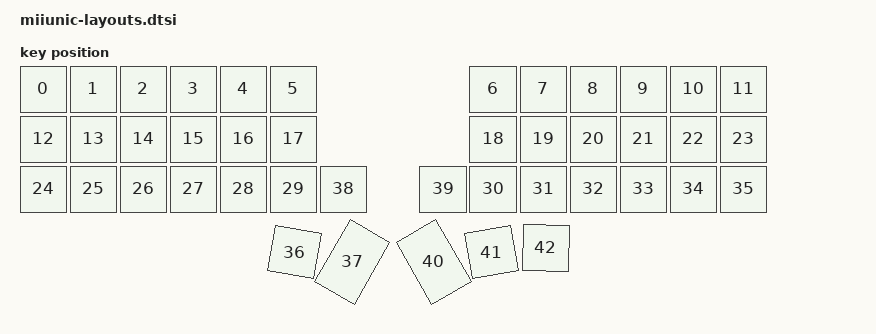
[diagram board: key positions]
#include <physical_layouts.dtsi>

/ {
    physical_layout_miiunic: physical_layout_miiunic {
        compatible = "zmk,physical-layout";
        display-name = "miiUnic";
        keys  //                     w   h    x    y     rot    rx    ry
            = <&key_physical_attrs 100 100  100    0       0     0     0>
            , <&key_physical_attrs 100 100  200    0       0     0     0>
            , <&key_physical_attrs 100 100  300    0       0     0     0>
            , <&key_physical_attrs 100 100  400    0       0     0     0>
            , <&key_physical_attrs 100 100  500    0       0     0     0>
            , <&key_physical_attrs 100 100  600    0       0     0     0>
            , <&key_physical_attrs 100 100 1000    0       0     0     0>
            , <&key_physical_attrs 100 100 1100    0       0     0     0>
            , <&key_physical_attrs 100 100 1200    0       0     0     0>
            , <&key_physical_attrs 100 100 1300    0       0     0     0>
            , <&key_physical_attrs 100 100 1400    0       0     0     0>
            , <&key_physical_attrs 100 100 1500    0       0     0     0>
            , <&key_physical_attrs 100 100  100  100       0     0     0>
            , <&key_physical_attrs 100 100  200  100       0     0     0>
            , <&key_physical_attrs 100 100  300  100       0     0     0>
            , <&key_physical_attrs 100 100  400  100       0     0     0>
            , <&key_physical_attrs 100 100  500  100       0     0     0>
            , <&key_physical_attrs 100 100  600  100       0     0     0>
            , <&key_physical_attrs 100 100 1000  100       0     0     0>
            , <&key_physical_attrs 100 100 1100  100       0     0     0>
            , <&key_physical_attrs 100 100 1200  100       0     0     0>
            , <&key_physical_attrs 100 100 1300  100       0     0     0>
            , <&key_physical_attrs 100 100 1400  100       0     0     0>
            , <&key_physical_attrs 100 100 1500  100       0     0     0>
            , <&key_physical_attrs 100 100  100  200       0     0     0>
            , <&key_physical_attrs 100 100  200  200       0     0     0>
            , <&key_physical_attrs 100 100  300  200       0     0     0>
            , <&key_physical_attrs 100 100  400  200       0     0     0>
            , <&key_physical_attrs 100 100  500  200       0     0     0>
            , <&key_physical_attrs 100 100  600  200       0     0     0>
            , <&key_physical_attrs 100 100 1000  200       0     0     0>
            , <&key_physical_attrs 100 100 1100  200       0     0     0>
            , <&key_physical_attrs 100 100 1200  200       0     0     0>
            , <&key_physical_attrs 100 100 1300  200       0     0     0>
            , <&key_physical_attrs 100 100 1400  200       0     0     0>
            , <&key_physical_attrs 100 100 1500  200       0     0     0>
            , <&key_physical_attrs 100 100  500  300      50(-1300)     0>
            , <&key_physical_attrs 100 100  600  300    1000   500   380>
            , <&key_physical_attrs 100 150  700  300    3000   720   420>
            , <&key_physical_attrs 100 100  700  200       0     0     0>
            , <&key_physical_attrs 100 100  900  200       0     0     0>
            , <&key_physical_attrs 100 150  900  300 (-3000)   980   420>
            , <&key_physical_attrs 100 100 1000  300 (-1000)  1200   380>
            , <&key_physical_attrs 100 100 1100  300     120   300   600>
            ;
    };
};
